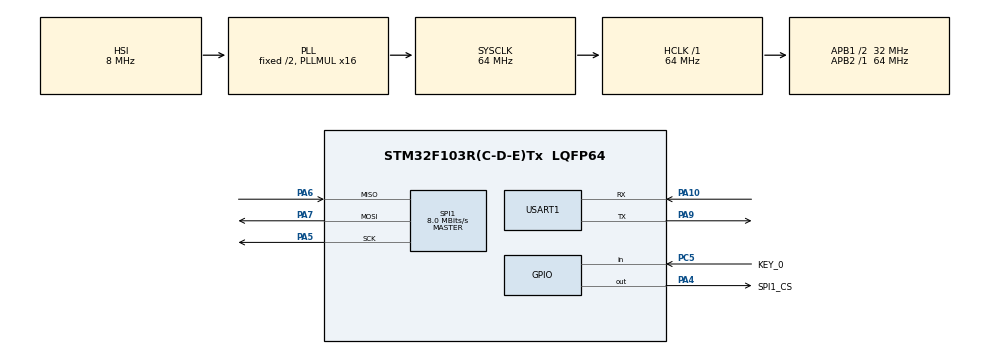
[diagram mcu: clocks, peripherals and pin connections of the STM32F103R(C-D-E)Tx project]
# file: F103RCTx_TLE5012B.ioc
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Mcu.Family=STM32F1
PA6.Mode=Full_Duplex_Master
PA7.Mode=Full_Duplex_Master
PD1-OSC_OUT.Mode=HSE-External-Oscillator
PA10.Mode=Asynchronous
SPI1.VirtualType=VM_MASTER
SPI1.CLKPhase=SPI_PHASE_2EDGE
PD0-OSC_IN.Signal=RCC_OSC_IN
RCC.APB1CLKDivider=RCC_HCLK_DIV2
RCC.SYSCLKSource=RCC_SYSCLKSOURCE_PLLCLK
ProjectManager.StackSize=0x400
PD1-OSC_OUT.Signal=RCC_OSC_OUT
PA13.Signal=SYS_JTMS-SWDIO
PA9.Mode=Asynchronous
PA4.PinState=GPIO_PIN_SET
ProjectManager.TargetToolchain=MDK-ARM V5.27
SPI1.Direction=SPI_DIRECTION_2LINES
RCC.HCLKFreq_Value=64000000
RCC.APB2TimFreq_Value=64000000
PA9.Signal=USART1_TX
SPI1.CalculateBaudRate=8.0 MBits/s
RCC.USBFreq_Value=64000000
RCC.AHBFreq_Value=64000000
PD0-OSC_IN.Mode=HSE-External-Oscillator
PA5.Signal=SPI1_SCK
board=custom
RCC.PLLMUL=RCC_PLL_MUL16
PA4.GPIO_Speed=GPIO_SPEED_FREQ_HIGH
RCC.APB2Freq_Value=64000000
SPI1.Mode=SPI_MODE_MASTER
PA14.Mode=Serial_Wire
SPI1.DataSize=SPI_DATASIZE_16BIT
PA13.Mode=Serial_Wire
Mcu.Name=STM32F103R(C-D-E)Tx
PA4.Signal=GPIO_Output
RCC.SYSCLKFreq_VALUE=64000000
Mcu.Package=LQFP64
PA6.Signal=SPI1_MISO
PC5.GPIO_Label=KEY_0
USART1.VirtualMode=VM_ASYNC
PA10.Signal=USART1_RX
PA14.Signal=SYS_JTCK-SWCLK
ProjectManager.HeapSize=0x200
NVIC.PriorityGroup=NVIC_PRIORITYGROUP_4
RCC.APB1TimFreq_Value=64000000
PC5.Signal=GPIO_Input
RCC.APB1Freq_Value=32000000
SPI1.BaudRatePrescaler=SPI_BAUDRATEPRESCALER_8
PA4.GPIO_Label=SPI1_CS
PA5.Mode=Full_Duplex_Master
PA7.Signal=SPI1_MOSI

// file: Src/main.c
/* USER CODE BEGIN Header */
/**
  ******************************************************************************
  * @file           : main.c
  * @brief          : Main program body
  ******************************************************************************
  * @attention
  *
  * <h2><center>&copy; Copyright (c) 2020 STMicroelectronics.
  * All rights reserved.</center></h2>
  *
  * This software component is licensed by ST under BSD 3-Clause license,
  * the "License"; You may not use this file except in compliance with the
  * License. You may obtain a copy of the License at:
  *                        opensource.org/licenses/BSD-3-Clause
  *
  ******************************************************************************
  */
/* USER CODE END Header */

#include "main.h"
#include "spi.h"
#include "usart.h"
#include "gpio.h"

/* USER CODE BEGIN Includes */
#include "DTek_TLE5012B.h"
#include <stdio.h>
/* USER CODE END Includes */

void SystemClock_Config(void);

int main(void)
{
    /* USER CODE BEGIN 1 */
    errorTypes checkError = NO_ERROR;
    double d = 0.0;
    int16_t numRev = 0;
    /* USER CODE END 1 */

    /* MCU Configuration--------------------------------------------------------*/

    /* Reset of all peripherals, Initializes the Flash interface and the Systick. */
    HAL_Init();

    /* Configure the system clock */
    SystemClock_Config();

    /* Initialize all configured peripherals */
    MX_GPIO_Init();
    MX_SPI1_Init();
    MX_USART1_UART_Init();
    /* USER CODE BEGIN 2 */

    SPI_CS_DISABLE;

    // To make sure that all the _registers are storing values that are not corrupted,
    // the function calculates the CRC based on the initial values of the _registers and stores the values for future use
    checkError = readBlockCRC();
    printf("Init done!!! ERROR CODE: 0x%02X\r\n", checkError);
    checkError = NO_ERROR;

    /* USER CODE END 2 */

    /* Infinite loop */
    /* USER CODE BEGIN WHILE */
    while (1)
    {
        HAL_Delay(500);

        if (checkError == NO_ERROR)
        {
            checkError = getAngleSpeed(&d);
            printf("角速度: %.04f\r\n", d);

            checkError = getAngleValue(&d);
            printf("角Value: %.04f\r\n", d);

            checkError = getNumRevolutions(&numRev);
            printf("转数: %d\r\n", numRev);

            checkError = getUpdAngleSpeed(&d);
            printf("Upd角速度: %.04f\r\n", d);

            checkError = getUpdAngleValue(&d);
            printf("Upd角Value: %.04f\r\n", d);

            checkError = getUpdNumRevolutions(&numRev);
            printf("Upd转数: %d\r\n", numRev);

            checkError = getTemperature(&d);
            printf("温度: %.04f\r\n", d);

            checkError = getAngleRange(&d);
            printf("角范围: %.04f\r\n", d);

            printf("\r\n\r\n\r\n");
        }
        else
        {
            printf("**************************************ERROR CODE: 0x%02X\r\n", checkError);
            checkError = NO_ERROR;
        }

        if (HAL_GPIO_ReadPin(KEY_0_GPIO_Port, KEY_0_Pin) == GPIO_PIN_RESET)
        {
            HAL_Delay(500);

            //            checkError = readBlockCRC();
            //            printf("Init done!!! ERROR CODE: 0x%02X\r\n", checkError);
            //            checkError = NO_ERROR;

            if (checkError == NO_ERROR)
            {
                //                checkError = getAngleSpeed(&d);
                //                printf("AngleSpeed: %.04f\r\n", d);

                //                checkError = getAngleRange(&d);
                //                printf("AngleRange: %.04f\r\n", d);

                checkError = getTemperature(&d);
                printf("Temperature: %.04f\r\n", d);
            }
            else
            {
                printf("ERROR CODE: 0x%02X\r\n", checkError);
                checkError = NO_ERROR;
            }
        }

        /* USER CODE END WHILE */

    }
}

void SystemClock_Config(void)
{
    RCC_OscInitTypeDef RCC_OscInitStruct = {0};
    RCC_ClkInitTypeDef RCC_ClkInitStruct = {0};

    /** Initializes the CPU, AHB and APB busses clocks
    */
    RCC_OscInitStruct.OscillatorType = RCC_OSCILLATORTYPE_HSI;
    RCC_OscInitStruct.HSIState = RCC_HSI_ON;
    RCC_OscInitStruct.HSICalibrationValue = RCC_HSICALIBRATION_DEFAULT;
    RCC_OscInitStruct.PLL.PLLState = RCC_PLL_ON;
    RCC_OscInitStruct.PLL.PLLSource = RCC_PLLSOURCE_HSI_DIV2;
    RCC_OscInitStruct.PLL.PLLMUL = RCC_PLL_MUL16;

    if (HAL_RCC_OscConfig(&RCC_OscInitStruct) != HAL_OK)
    {
        Error_Handler();
    }

    /** Initializes the CPU, AHB and APB busses clocks
    */
    RCC_ClkInitStruct.ClockType = RCC_CLOCKTYPE_HCLK | RCC_CLOCKTYPE_SYSCLK | RCC_CLOCKTYPE_PCLK1 | RCC_CLOCKTYPE_PCLK2;
    RCC_ClkInitStruct.SYSCLKSource = RCC_SYSCLKSOURCE_PLLCLK;
    RCC_ClkInitStruct.AHBCLKDivider = RCC_SYSCLK_DIV1;
    RCC_ClkInitStruct.APB1CLKDivider = RCC_HCLK_DIV2;
    RCC_ClkInitStruct.APB2CLKDivider = RCC_HCLK_DIV1;

    if (HAL_RCC_ClockConfig(&RCC_ClkInitStruct, FLASH_LATENCY_2) != HAL_OK)
    {
        Error_Handler();
    }
}

void Error_Handler(void)
{
}

/************************ (C) COPYRIGHT STMicroelectronics *****END OF FILE****/
